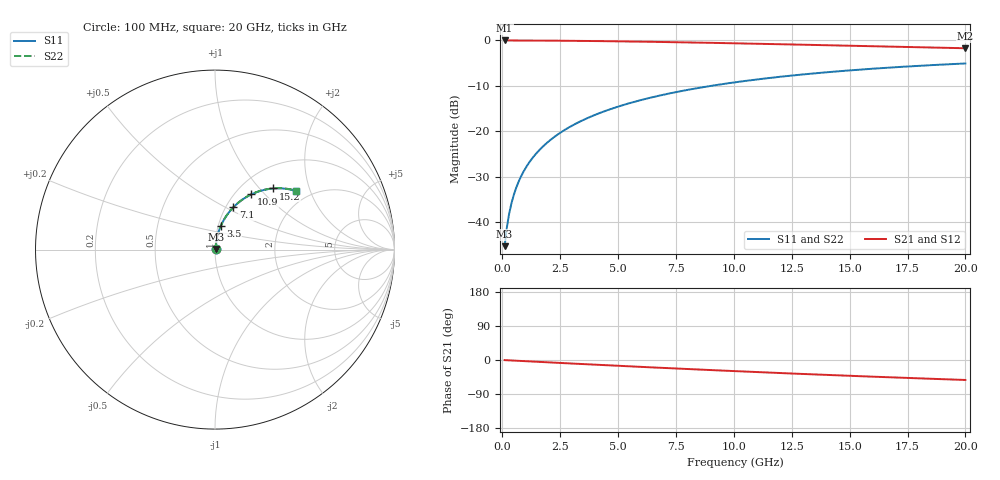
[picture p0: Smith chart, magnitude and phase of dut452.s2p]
! Touchstone file exported from HFSS 2026.1.0
!  File:  C:/ffzhzh/LocalFiles/Ansys_Project_Files/temp_train_TMRDL_452_1783005838_46388.aedt
!  Generated:  11:25:35 PM Jul  2, 2026
!  Design:  TMRDL
!  Project:  temp_train_TMRDL_452_1783005838_46388
! Variables:
!  h_bsmrdl = 2um
!  h_ox = 20um
!  h_rdl = 5um
!  h_sub = 80um
!  h_tmrdl = 4.98um
!  h_tsv = 80um
!  h_via = 3um
!  l_bsmrdl = 300um
!  l_sub = 1135.28um
!  l_tmrdl = 735.28um
!  m_sub = 200um
!  pitch = 57.05um
!  r_tsv = 6um
!  s_tmrdl = 10um
!  w_bsmrdl = 18um
!  w_sub = 500um
!  w_tmrdl = 14.37um
!  x_tsv_center1 = 742.465um
!  x_tsv_center2 = 1060.465um
!  x_tsv_center3 = 1810.115um
!  x_tsv_center4 = 2128.115um
!  x_tsv_center5 = 2877.765um
!  x_tsv_center6 = 3195.765um
# GHz S MA R 50.000000
! Terminal data exported
! Port[1] = TM_RDL1_1_T1
! Port[2] = TM_RDL1_1_T2
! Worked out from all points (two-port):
!   200 points, 100 MHz to 20 GHz, reference 50 ohm
!   highest |S21| = -0.03 dB at 100 MHz (marker M1); lowest = -1.7 dB at 20 GHz (marker M2)
!   |S21| within 3 dB of the highest: start of sweep to end of sweep
!   lowest |S11| = -45.2 dB at 100 MHz (marker M3), VSWR 1.01, Z = 50.4 + j0.405 ohm
!   |S11| at or under -10 dB: start of sweep to 9.025 GHz
!   |S22| runs from -45.2 to -5.1 dB; largest |S21 - S12| = 7e-15
!   S11 on the Smith chart (normalised r, x): 100 MHz: 1.01, +0.01; 3.5 GHz: 1.03, +0.27; 7.1 GHz: 1.08, +0.55; 10.9 GHz: 1.18, +0.84; 15.2 GHz: 1.36, +1.19; 20 GHz: 1.69, +1.60
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0.1  0.005474 47.2  0.9963 -0.3  0.9963 -0.3  0.005474 47.2
! Gamma 0 0 0 0
! Port Impedance 50 0 50 0
0.2  0.008881 64.1  0.9962 -0.6  0.9962 -0.6  0.008881 64.1
0.3  0.01259 71.0  0.996 -1.0  0.996 -1.0  0.01259 71.0
0.4  0.01636 74.6  0.9959 -1.3  0.9959 -1.3  0.01636 74.6
0.5  0.02016 76.7  0.9957 -1.6  0.9957 -1.6  0.02016 76.7
0.7  0.02779 79.0  0.9954 -2.2  0.9954 -2.2  0.02779 79.0
1  0.03928 80.4  0.9948 -3.1  0.9948 -3.1  0.03928 80.4
1.4  0.0546 80.7  0.9939 -4.4  0.9939 -4.4  0.0546 80.7
2  0.07746 80.0  0.9919 -6.2  0.9919 -6.2  0.07746 80.0
2.7  0.1038 78.5  0.9889 -8.4  0.9889 -8.4  0.1038 78.5
3.5  0.1333 76.4  0.9847 -10.8  0.9847 -10.8  0.1333 76.4
4.2  0.1586 74.5  0.9803 -12.9  0.9803 -12.9  0.1586 74.5
5  0.1868 72.3  0.9746 -15.3  0.9746 -15.3  0.1868 72.3
6.8  0.2473 67.3  0.9596 -20.5  0.9596 -20.5  0.2473 67.4
7.1  0.257 66.5  0.9569 -21.3  0.9569 -21.3  0.257 66.6
8.5  0.3006 62.8  0.9434 -25.2  0.9434 -25.2  0.3006 62.8
10.1  0.3471 58.6  0.9267 -29.5  0.9267 -29.5  0.3471 58.7
10.9  0.369 56.6  0.918 -31.6  0.918 -31.6  0.369 56.7
13.4  0.4316 50.5  0.89 -37.9  0.89 -37.9  0.4316 50.6
15.2  0.4713 46.3  0.8696 -42.2  0.8696 -42.2  0.4713 46.4
16.7  0.5011 42.9  0.8529 -45.6  0.8529 -45.6  0.501 43.1
20  0.5568 36.0  0.818 -52.7  0.818 -52.7  0.5567 36.1
